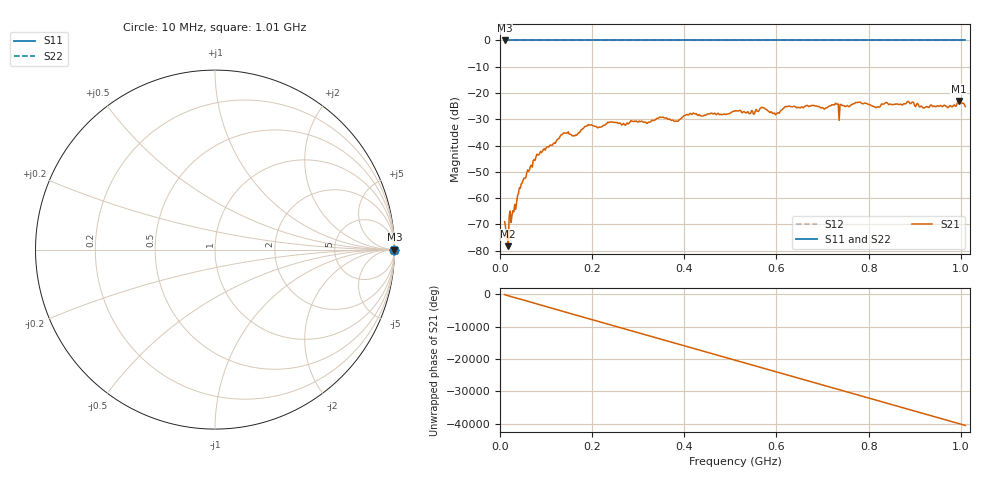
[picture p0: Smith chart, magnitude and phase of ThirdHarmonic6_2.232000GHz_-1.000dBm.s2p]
! 8/17/2025 2:33:02 AM
! C:\ANRITSUVNA\TEMP\TEMP.S2P
! CHANNEL.1
! TR.MEASUREMENT
! RAW.DATA
! RF.CORRECTION.OFF
! AVERAGING.OFF
! IF.BANDWIDTH: 5KHZ
! SWEEPTYPE:  FREQ.SWEEP(Linear)
! Reference Plane Port Info
! PORT:  PORT1  PORT2
! DISTANCE:  0  m  0  m
! TIME:  0  s  0  s
! PHASE.OFFSET:  0  deg.  0  deg.
! LOSS:  0  dB  0  dB
! REF.LOSS:  0  dB  0  dB
! REF.FREQ:  0  Hz  0  Hz
! Power Info
! POWER:  -20  dBm  -20  dBm
! EFF.POWER:  -20  dBm  -20  dBm
! SOURCE.ATTEN:  0  dB  0  dB
! TEST.ATTEN:  0  dB  0  dB
# GHZ S RI R 50.0
! FREQ.GHZ  S11RE  S11IM  S21RE  S21IM  S12RE  S12IM  S22RE  S22IM
!; PortSelection: Port_12
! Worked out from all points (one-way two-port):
!   501 points, 10 MHz to 1.01 GHz, reference 50 ohm
!   highest |S21| = -23.06 dB at 996 MHz (marker M1); lowest = -78.3 dB at 18 MHz (marker M2)
!   lowest |S11| = 0.0 dB at 10 MHz (marker M3)
!   |S11| at or under -10 dB: nowhere
!   |S22| runs from 0.0 to 0.0 dB; largest |S21 - S12| = 1.1
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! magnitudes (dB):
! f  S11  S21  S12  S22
! 10 MHz  0.0  -69.0  0.0  0.0
! 14 MHz  0.0  -75.1  0.0  0.0
! 18 MHz  0.0  -78.3  0.0  0.0
! 24 MHz  0.0  -69.3  0.0  0.0
! 32 MHz  0.0  -62.4  0.0  0.0
! 46 MHz  0.0  -54.6  0.0  0.0
! 76 MHz  0.0  -45.7  0.0  0.0
! 136 MHz  0.0  -35.6  0.0  0.0
! 162 MHz  0.0  -36.3  0.0  0.0
! 178 MHz  0.0  -33.8  0.0  0.0
! 344 MHz  0.0  -29.6  0.0  0.0
! 382 MHz  0.0  -30.6  0.0  0.0
! 416 MHz  0.0  -28.2  0.0  0.0
! 510 MHz  0.0  -26.8  0.0  0.0
! 570 MHz  0.0  -25.6  0.0  0.0
! 602 MHz  0.0  -27.6  0.0  0.0
! 622 MHz  0.0  -25.2  0.0  0.0
! 678 MHz  0.0  -24.8  0.0  0.0
! 844 MHz  0.0  -24.5  0.0  0.0
! 920 MHz  0.0  -25.7  0.0  0.0
! 996 MHz  0.0  -23.1  0.0  0.0
! 1.01 GHz  0.0  -25.2  0.0  0.0
